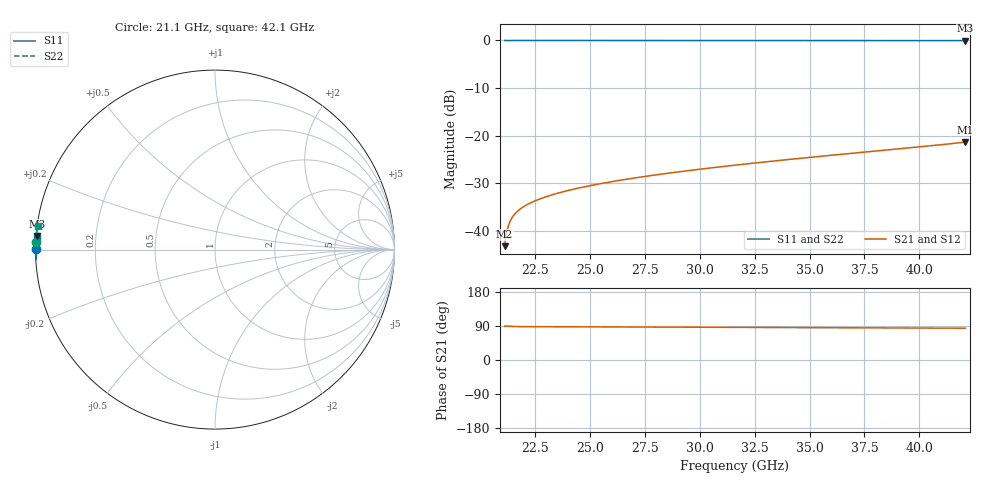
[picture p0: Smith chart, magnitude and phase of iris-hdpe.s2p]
! Touchstone file exported from HFSS 2019.2.0
!  File:  C:/Users/jgarrett/Documents/Ansoft/Waveguide Cavity/WR-28-waveguide-cavity.aedt
!  Generated:  11:51:04 AM  Feb 22, 2021
!  Design:  brass-1.5mm-iris-hdpe
!  Project:  WR-28-waveguide-cavity
!  Setup:  Setup1
!  Solution:  Sweep
! Variables:
!  irisD = 1.59mm
!  irisT = 5mil
!  waveguideL = 10mm
!Data is not renormalized
# GHZ S MA
! Modal data exported
! Port[1] = 1:1
! Port[2] = 2:1
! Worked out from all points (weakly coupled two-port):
!   2101 points, 21.1 GHz to 42.1 GHz, reference per port
!   highest |S21| = -21.33 dB at 42.1 GHz (marker M1); lowest = -43.2 dB at 21.1 GHz (marker M2)
!   lowest |S11| = 0.0 dB at 42.1 GHz (marker M3), VSWR 451.34
!   |S11| at or under -10 dB: nowhere
!   |S22| runs from 0.0 to 0.0 dB; largest |S21 - S12| = 2.9e-15
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21.1  1 179.9  0.00693 88.4  0.00693 88.4  0.9994 177.5
! Gamma ! 0 20.8210316122592 0.222826653852094 504.642644539971
! Port Impedance8001.47300089272 0 330.132404815719 0.145771071646731
21.15  0.9982 -176.9  0.008529 89.6  0.008529 89.6  0.9994 177.5
21.22  0.9977 -177.2  0.01029 89.4  0.01029 89.4  0.9993 177.5
21.25  0.9978 -177.7  0.01092 89.3  0.01092 89.3  0.9993 177.5
21.29  0.998 -178.2  0.01166 89.1  0.01166 89.1  0.9993 177.5
21.38  0.9986 -179.2  0.01304 88.7  0.01304 88.7  0.9993 177.5
21.47  0.9991 -179.8  0.01414 88.5  0.01414 88.5  0.9993 177.5
21.58  0.9995 179.8  0.01524 88.3  0.01524 88.3  0.9993 177.4
21.71  0.9997 179.5  0.01631 88.2  0.01631 88.2  0.9992 177.4
21.86  0.9998 179.4  0.01735 88.1  0.01735 88.1  0.9992 177.4
22.06  0.9997 179.3  0.01855 88.0  0.01855 88.0  0.9992 177.3
22.3  0.9996 179.3  0.01982 88.0  0.01982 88.0  0.9992 177.3
22.91  0.9995 179.1  0.02256 87.9  0.02256 87.9  0.9991 177.2
23.67  0.9994 178.9  0.02548 87.7  0.02548 87.7  0.999 177.0
24.6  0.9993 178.7  0.02865 87.5  0.02865 87.5  0.9989 176.8
26.17  0.9991 178.4  0.03351 87.2  0.03351 87.2  0.9987 176.5
28.1  0.9988 178.1  0.03912 86.8  0.03912 86.8  0.9984 176.1
29.73  0.9986 177.8  0.04375 86.5  0.04375 86.5  0.9982 175.7
31.6  0.9983 177.5  0.0491 86.2  0.0491 86.2  0.9979 175.3
35.1  0.9977 176.9  0.05956 85.5  0.05956 85.5  0.9972 174.5
38.6  0.9968 176.3  0.07119 84.7  0.07119 84.7  0.9964 173.6
42.1  0.9956 175.6  0.08581 83.8  0.08581 83.8  0.9951 172.4
